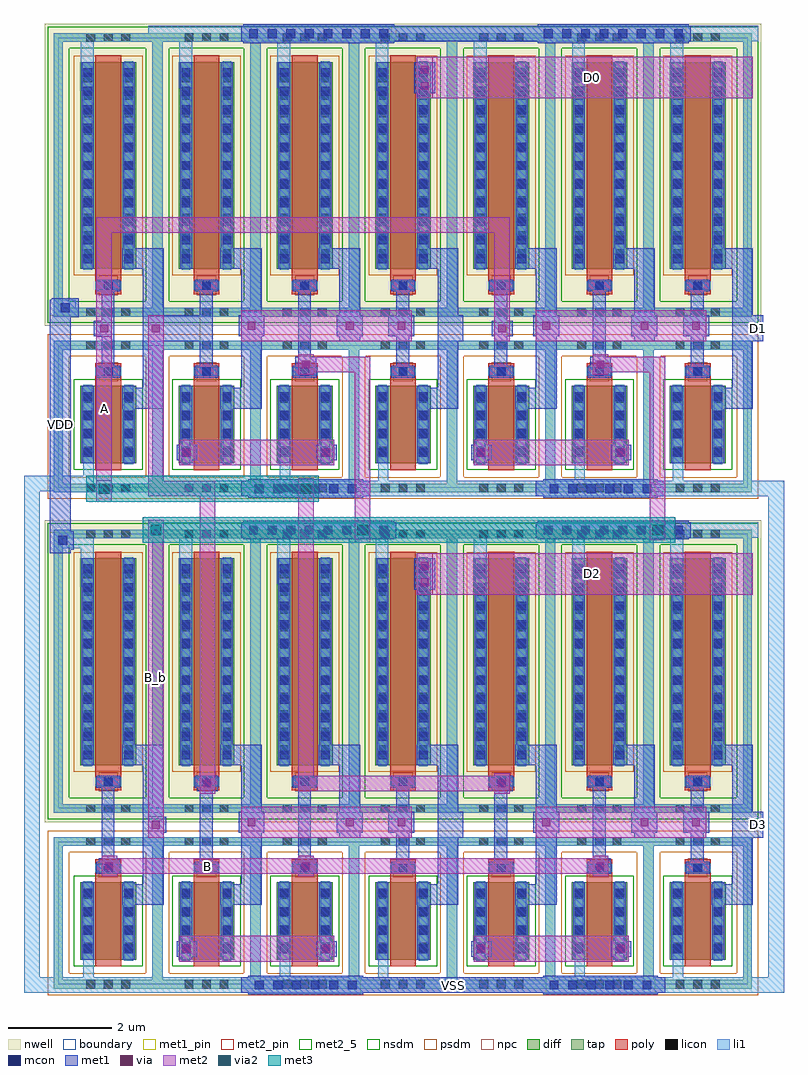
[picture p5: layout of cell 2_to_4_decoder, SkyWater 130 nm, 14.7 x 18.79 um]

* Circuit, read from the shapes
.subckt 2_to_4_decoder A B B_b D0 D1 D2 D3 VDD VSS
XM1 B_b B VSS VSS sky130_fd_pr__nfet_01v8 w=1.5 l=0.5
XM2 and_2/A A VSS VSS sky130_fd_pr__nfet_01v8 w=1.5 l=0.5
XM3 n1 and_2/A n2 VSS sky130_fd_pr__nfet_01v8 w=1.5 l=0.5
XM4 n3 and_2/A n4 VSS sky130_fd_pr__nfet_01v8 w=1.5 l=0.5
XM5 n2 B VSS VSS sky130_fd_pr__nfet_01v8 w=1.5 l=0.5
XM6 n4 B_b VSS VSS sky130_fd_pr__nfet_01v8 w=1.5 l=0.5
XM7 D2 n1 VSS VSS sky130_fd_pr__nfet_01v8 w=1.5 l=0.5
XM8 D0 n3 VSS VSS sky130_fd_pr__nfet_01v8 w=1.5 l=0.5
XM9 n5 A n6 VSS sky130_fd_pr__nfet_01v8 w=1.5 l=0.5
XM10 n7 A n8 VSS sky130_fd_pr__nfet_01v8 w=1.5 l=0.5
XM11 n6 B VSS VSS sky130_fd_pr__nfet_01v8 w=1.5 l=0.5
XM12 n8 B_b VSS VSS sky130_fd_pr__nfet_01v8 w=1.5 l=0.5
XM13 D3 n5 VSS VSS sky130_fd_pr__nfet_01v8 w=1.5 l=0.5
XM14 D1 n7 VSS VSS sky130_fd_pr__nfet_01v8 w=1.5 l=0.5
XM15 B_b B VDD VDD sky130_fd_pr__pfet_01v8 w=4 l=0.5
XM16 and_2/A A VDD VDD sky130_fd_pr__pfet_01v8 w=4 l=0.5
XM17 n1 and_2/A VDD VDD sky130_fd_pr__pfet_01v8 w=4 l=0.5
XM18 n3 and_2/A VDD VDD sky130_fd_pr__pfet_01v8 w=4 l=0.5
XM19 n1 B VDD VDD sky130_fd_pr__pfet_01v8 w=4 l=0.5
XM20 n3 B_b VDD VDD sky130_fd_pr__pfet_01v8 w=4 l=0.5
XM21 D2 n1 VDD VDD sky130_fd_pr__pfet_01v8 w=4 l=0.5
XM22 D0 n3 VDD VDD sky130_fd_pr__pfet_01v8 w=4 l=0.5
XM23 n5 A VDD VDD sky130_fd_pr__pfet_01v8 w=4 l=0.5
XM24 n7 A VDD VDD sky130_fd_pr__pfet_01v8 w=4 l=0.5
XM25 n5 B VDD VDD sky130_fd_pr__pfet_01v8 w=4 l=0.5
XM26 n7 B_b VDD VDD sky130_fd_pr__pfet_01v8 w=4 l=0.5
XM27 D3 n5 VDD VDD sky130_fd_pr__pfet_01v8 w=4 l=0.5
XM28 D1 n7 VDD VDD sky130_fd_pr__pfet_01v8 w=4 l=0.5
.ends

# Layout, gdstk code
import gdstk
lib = gdstk.Library(unit=1e-6, precision=1e-09)
def R(c, l, rs):  # rectangles x0, y0, x1, y1
    for r in rs: c.add(gdstk.rectangle(r[:2], r[2:], *l))
def A(c, l, x, y, w, h, nx, ny, dx, dy):  # array of equal rectangles
    R(c, l, [(x+i*dx, y+j*dy, x+i*dx+w, y+j*dy+h) for i in range(nx) for j in range(ny)])
nwell = (64, 20)
diff = (65, 20)
tap = (65, 44)
poly = (66, 20)
licon = (66, 44)
li1 = (67, 20)
mcon = (67, 44)
met1_pin = (68, 16)
met1 = (68, 20)
via = (68, 44)
met2_5 = (69, 5)
met2_pin = (69, 16)
met2 = (69, 20)
via2 = (69, 44)
met3 = (70, 20)
nsdm = (93, 44)
psdm = (94, 20)
npc = (95, 20)
boundary = (235, 4)

sky130_fd_pr__pfet_01v8_ = lib.new_cell('sky130_fd_pr__pfet_01v8_TSNZVH')
R(sky130_fd_pr__pfet_01v8_, nwell, [(-1.23,-2.92,1.23,2.92)])
R(sky130_fd_pr__pfet_01v8_, diff, [(-0.54,-1.82,0.54,2.18)])
R(sky130_fd_pr__pfet_01v8_, tap, [(-1.05,-2.74,1.05,-2.57), (-1.05,-2.57,-0.88,2.57), (0.88,-2.57,1.05,2.57), (-1.05,2.57,1.05,2.74)])
R(sky130_fd_pr__pfet_01v8_, poly, [(-0.25,-2.305,0.25,2.31)])
A(sky130_fd_pr__pfet_01v8_, licon, -0.425, -2.74, 0.17, 0.17, 3, 2, 0.34, 5.31)
A(sky130_fd_pr__pfet_01v8_, licon, -0.48, -1.605, 0.17, 0.17, 1, 11, 0, 0.34)
A(sky130_fd_pr__pfet_01v8_, licon, 0.31, -1.605, 0.17, 0.17, 1, 11, 0, 0.34)
R(sky130_fd_pr__pfet_01v8_, licon, [(-0.085,-2.225,0.085,-2.055)])
R(sky130_fd_pr__pfet_01v8_, li1, [(-1.05,-2.74,1.05,-2.57), (-1.05,-2.57,-0.88,2.57), (0.88,-2.57,1.05,2.57), (-0.25,-2.225,0.25,-2.055), (-0.48,-1.84,-0.31,2.2), (0.31,-1.84,0.48,2.2), (-1.05,2.57,1.05,2.74)])
A(sky130_fd_pr__pfet_01v8_, mcon, -0.48, -1.705, 0.17, 0.17, 1, 11, 0, 0.36)
A(sky130_fd_pr__pfet_01v8_, mcon, 0.31, -1.705, 0.17, 0.17, 1, 11, 0, 0.36)
R(sky130_fd_pr__pfet_01v8_, mcon, [(-0.085,-2.225,0.085,-2.055)])
R(sky130_fd_pr__pfet_01v8_, met1, [(-0.23,-2.255,0.23,-2.025), (-0.51,-1.82,-0.28,2.18), (0.28,-1.82,0.51,2.18)])
R(sky130_fd_pr__pfet_01v8_, nsdm, [(-1.175,-2.865,1.175,-2.445), (-1.175,-2.445,-0.755,2.445), (0.755,-2.445,1.175,2.445), (-1.175,2.445,1.175,2.865)])
R(sky130_fd_pr__pfet_01v8_, psdm, [(-0.665,-1.945,0.665,2.305)])
R(sky130_fd_pr__pfet_01v8_, npc, [(-0.185,-2.325,0.185,-1.955)])
R(sky130_fd_pr__pfet_01v8_, boundary, [(-0.965,-2.655,0.965,2.655)])

sky130_fd_pr__nfet_01v8_ = lib.new_cell('sky130_fd_pr__nfet_01v8_Y5UG24')
R(sky130_fd_pr__nfet_01v8_, diff, [(-0.54,-0.905,0.54,0.595)])
R(sky130_fd_pr__nfet_01v8_, tap, [(-1.05,-1.465,1.05,-1.295), (-1.05,-1.295,-0.88,1.295), (0.88,-1.295,1.05,1.295), (-1.05,1.295,1.05,1.465)])
R(sky130_fd_pr__nfet_01v8_, poly, [(-0.25,-1.035,0.25,1.035)])
A(sky130_fd_pr__nfet_01v8_, licon, -0.425, -1.465, 0.17, 0.17, 3, 2, 0.34, 2.76)
A(sky130_fd_pr__nfet_01v8_, licon, -0.48, -0.75, 0.17, 0.17, 1, 4, 0, 0.34)
A(sky130_fd_pr__nfet_01v8_, licon, 0.31, -0.75, 0.17, 0.17, 1, 4, 0, 0.34)
R(sky130_fd_pr__nfet_01v8_, licon, [(-0.085,0.785,0.085,0.955)])
R(sky130_fd_pr__nfet_01v8_, li1, [(-1.05,-1.465,1.05,-1.295), (-1.05,-1.295,-0.88,1.295), (0.88,-1.295,1.05,1.295), (-0.48,-0.925,-0.31,0.615), (0.31,-0.925,0.48,0.615), (-0.25,0.785,0.25,0.955), (-1.05,1.295,1.05,1.465)])
A(sky130_fd_pr__nfet_01v8_, mcon, -0.48, -0.78, 0.17, 0.17, 1, 4, 0, 0.36)
A(sky130_fd_pr__nfet_01v8_, mcon, 0.31, -0.78, 0.17, 0.17, 1, 4, 0, 0.36)
R(sky130_fd_pr__nfet_01v8_, mcon, [(-0.085,0.785,0.085,0.955)])
R(sky130_fd_pr__nfet_01v8_, met1, [(-0.51,-0.905,-0.28,0.595), (0.28,-0.905,0.51,0.595), (-0.23,0.755,0.23,0.985)])
R(sky130_fd_pr__nfet_01v8_, nsdm, [(-0.665,-1.03,0.665,0.72)])
R(sky130_fd_pr__nfet_01v8_, psdm, [(-1.175,-1.59,1.175,-1.17), (-1.175,-1.17,-0.755,1.17), (0.755,-1.17,1.175,1.17), (-1.175,1.17,1.175,1.59)])
R(sky130_fd_pr__nfet_01v8_, npc, [(-0.185,0.685,0.185,1.055)])
R(sky130_fd_pr__nfet_01v8_, boundary, [(-0.965,-1.38,0.965,1.38)])

inv = lib.new_cell('inv')
R(inv, li1, [(0.45,-3.6,0.65,-2.6), (0.4,4.15,0.65,5.2)])
R(inv, met1, [(1.2,-2,2,-1.6), (1.6,-1.6,2,0.7), (0.8,-1.35,1.05,0.45), (1.2,0.7,2,1.1)])
inv.add(gdstk.Reference(sky130_fd_pr__pfet_01v8_, (0.93,2.52)))
inv.add(gdstk.Reference(sky130_fd_pr__nfet_01v8_, (0.93,-2.155)))

and_ = lib.new_cell('and')
R(and_, li1, [(0,-3.2,6.1,-2.9), (2.55,-2.9,2.75,-2.1), (0.6,4.7,0.85,5.6), (2.5,4.7,2.75,5.6), (0,5.6,6.1,5.9)])
A(and_, mcon, 2.065, -3.135, 0.17, 0.17, 6, 1, 0.36, 0)
A(and_, mcon, 1.955, 5.665, 0.17, 0.17, 8, 1, 0.36, 0)
R(and_, met1_pin, [(4.1,-3.2,4.3,-2.9), (1,-0.85,1.25,0.95), (2.9,-0.85,3.15,0.95), (5.6,-0.2,6.1,0.3), (4.7,5.6,4.8,5.9)])
R(and_, met1, [(1.94,-3.23,4.16,-3.2), (1.8,-3.2,4.3,-2.9), (1.94,-2.9,4.16,-2.87), (0.55,-2.5,0.95,-2.2), (3.25,-2.5,3.65,-2.2), (1.4,-1.5,2.2,-1.1), (1.8,-1.1,2.2,-0.1), (1,-0.85,1.25,0.95), (2.9,-0.85,3.15,0.95), (3.7,-0.2,4.1,-0.1), (5.6,-0.2,6.1,0.3), (1.75,-0.1,2.25,0.3), (3.65,-0.1,4.15,0.3), (4.65,-0.1,5.15,0.3), (1.8,0.3,2.2,1.2), (3.7,0.3,4.1,1.2), (1.4,1.2,2.2,1.6), (3.3,1.2,4.1,1.6), (1.84,5.57,4.76,5.6), (1.8,5.6,4.8,5.9), (1.84,5.9,4.76,5.93)])
R(and_, via, [(0.675,-2.425,0.825,-2.275), (3.375,-2.425,3.525,-2.275), (1.925,0.025,2.075,0.175), (3.825,0.025,3.975,0.175), (4.825,0.025,4.975,0.175)])
R(and_, met2, [(0.6,-2.6,3.6,-2.1), (1.8,-0.2,5.1,0.4)])
and_.add(gdstk.Reference(sky130_fd_pr__pfet_01v8_, (1.13,3.02)))
and_.add(gdstk.Reference(sky130_fd_pr__pfet_01v8_, (3.03,3.02)))
and_.add(gdstk.Reference(sky130_fd_pr__nfet_01v8_, (1.13,-1.655)))
and_.add(gdstk.Reference(sky130_fd_pr__nfet_01v8_, (3.03,-1.655)))
and_.add(gdstk.Reference(inv, (4,0.5)))
and_.add(gdstk.Label('B', (3.025,0.05), layer=68, texttype=16))
and_.add(gdstk.Label('Vout', (5.85,0.05), layer=68, texttype=16))
and_.add(gdstk.Label('VDD', (4.75,5.75), layer=68, texttype=16))
and_.add(gdstk.Label('VSS', (4.2,-3.05), layer=68, texttype=16))
and_.add(gdstk.Label('A', (1.125,0.05), layer=68, texttype=16))

c_2_to_4_decoder = lib.new_cell('2_to_4_decoder')
R(c_2_to_4_decoder, li1, [(-2.3,-9.5,0.2,-9.2), (11.7,-9.5,12.4,-9.2), (-2.3,-9.2,-2,0.2), (12.1,-9.2,12.4,0.1), (-1.7,-0.9,-1,-0.6), (11.6,0.1,12.4,0.4), (-2.3,0.2,-1,0.5), (-1.7,3.6,-1.3,3.9)])
R(c_2_to_4_decoder, mcon, [(-1.635,-0.835,-1.465,-0.665), (-1.585,3.665,-1.415,3.835)])
R(c_2_to_4_decoder, met1_pin, [(4.2,-9.5,7.8,-9.2), (11.8,-6.5,12,-6), (-1.8,-0.6,-1.4,3.6), (11.8,3.1,12,3.6)])
R(c_2_to_4_decoder, met1, [(4.2,-9.5,7.8,-9.2), (-0.85,-7.2,-0.45,-6.9), (2.95,-7.2,3.35,-6.9), (8.65,-7.2,9.05,-6.9), (11.8,-6.5,12,-6), (0.05,-6.4,0.45,-6.1), (1.05,-5.6,1.45,-5.3), (6.75,-5.6,7.15,-5.3), (5.25,-1.7,5.65,-1.1), (-1.8,-1,-1.4,-0.93), (-1.8,-0.93,-1.34,-0.57), (-1.8,-0.57,-1.4,3.57), (2.95,2.5,3.35,2.8), (8.65,2.5,9.05,2.8), (0,3.1,1.3,3.6), (11.8,3.1,12,3.6), (-0.95,3.2,-0.55,3.5), (6.75,3.2,7.15,3.5), (-1.8,3.57,-1.24,3.9), (-1.76,3.9,-1.24,3.93), (5.25,7.9,5.65,8.5), (4.7,8.9,7.8,9.2)])
R(c_2_to_4_decoder, via, [(-0.725,-7.125,-0.575,-6.975), (3.075,-7.125,3.225,-6.975), (8.775,-7.125,8.925,-6.975), (0.175,-6.325,0.325,-6.175), (1.175,-5.525,1.325,-5.375), (6.875,-5.525,7.025,-5.375), (5.375,-1.635,5.525,-1.485), (5.375,-1.315,5.525,-1.165), (3.075,2.575,3.225,2.725), (8.775,2.575,8.925,2.725), (-0.825,3.275,-0.675,3.425), (0.175,3.275,0.325,3.425), (6.875,3.275,7.025,3.425), (5.375,7.965,5.525,8.115), (5.375,8.285,5.525,8.435)])
R(c_2_to_4_decoder, met2_5, [(0.1,-6.1,0.4,-0.7)])
R(c_2_to_4_decoder, met2_pin, [(-0.5,-7.2,3,-6.9), (5.6,-1.8,11.8,-1), (-0.9,0.4,-0.6,3.2), (5.6,7.8,11.8,8.6)])
R(c_2_to_4_decoder, met2, [(-0.8,-7.25,-0.5,-7.2), (3,-7.25,3.3,-7.2), (8.7,-7.25,9,-7.2), (-0.8,-7.2,9,-6.9), (-0.8,-6.9,-0.5,-6.85), (3,-6.9,3.3,-6.85), (8.7,-6.9,9,-6.85), (0.1,-6.5,0.4,-0.35), (1.1,-5.65,1.4,0.1), (6.8,-5.65,7.1,-5.6), (3,-5.6,7.1,-5.3), (3,-5.3,3.3,0.45), (6.8,-5.3,7.1,-5.25), (5.3,-1.8,11.8,-1), (4.1,-0.8,4.4,2.5), (9.8,-0.75,10.1,2.5), (-0.9,0,-0.6,5.2), (0.1,0.1,1.4,0.4), (0.1,0.4,0.4,3.6), (3,2.45,3.3,2.5), (8.7,2.45,9,2.5), (3,2.5,4.4,2.8), (8.7,2.5,10.1,2.8), (3,2.8,3.3,2.85), (8.7,2.8,9,2.85), (6.8,3.1,7.1,5.2), (-0.9,5.2,7.1,5.5), (5.3,7.8,11.8,8.6)])
R(c_2_to_4_decoder, via2, [(0.15,-0.65,0.35,-0.45), (4.15,-0.65,4.35,-0.45), (9.85,-0.65,10.05,-0.45), (-0.85,0.15,-0.65,0.35), (3.05,0.15,3.25,0.35)])
R(c_2_to_4_decoder, met3, [(0,-0.8,10.3,-0.3), (-1.1,0,3.4,0.5)])
c_2_to_4_decoder.add(gdstk.Reference(inv, (-1.6,3.8)))
c_2_to_4_decoder.add(gdstk.Reference(inv, (-1.6,-5.8)))
c_2_to_4_decoder.add(gdstk.Reference(and_, (0.1,3.3)))
c_2_to_4_decoder.add(gdstk.Reference(and_, (5.8,3.3)))
c_2_to_4_decoder.add(gdstk.Reference(and_, (0.1,-6.3)))
c_2_to_4_decoder.add(gdstk.Reference(and_, (5.8,-6.3)))
c_2_to_4_decoder.add(gdstk.Label('B_b', (0.25,-3.4), layer=69, texttype=5))
c_2_to_4_decoder.add(gdstk.Label('A', (-0.75,1.8), layer=69, texttype=16))
c_2_to_4_decoder.add(gdstk.Label('B', (1.25,-7.05), layer=69, texttype=16))
c_2_to_4_decoder.add(gdstk.Label('VDD', (-1.6,1.5), layer=68, texttype=16))
c_2_to_4_decoder.add(gdstk.Label('VSS', (6,-9.35), layer=68, texttype=16))
c_2_to_4_decoder.add(gdstk.Label('D0', (8.7,8.2), layer=69, texttype=16))
c_2_to_4_decoder.add(gdstk.Label('D1', (11.9,3.35), layer=68, texttype=16))
c_2_to_4_decoder.add(gdstk.Label('D2', (8.7,-1.4), layer=69, texttype=16))
c_2_to_4_decoder.add(gdstk.Label('D3', (11.9,-6.25), layer=68, texttype=16))

lib.write_gds('2_to_4_decoder.gds')
